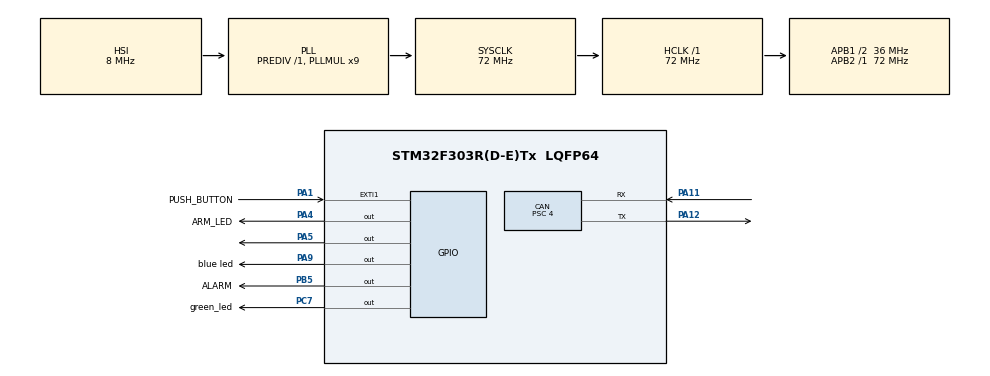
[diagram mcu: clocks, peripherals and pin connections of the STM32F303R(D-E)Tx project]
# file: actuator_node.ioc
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CAN.ABOM=ENABLE
CAN.AWUM=ENABLE
CAN.BS1=CAN_BS1_15TQ
CAN.BS2=CAN_BS2_2TQ
CAN.CalculateBaudRate=500000
CAN.CalculateTimeBit=2000
CAN.CalculateTimeQuantum=111.11111111111111
CAN.NART=ENABLE
CAN.Prescaler=4
FREERTOS.BinarySemaphores01=armButtonSem,Dynamic,NULL,Available
FREERTOS.Mutexes01=sensorDataMutex,Dynamic,NULL,Available
FREERTOS.Tasks01=defaultTask,24,128,StartDefaultTask,Default,NULL,Dynamic,NULL,NULL;canRxTask,32,256,StartCanRxTask,Default,NULL,Dynamic,NULL,NULL;alarmTask,24,256,StartAlarmTask,Default,NULL,Dynamic,NULL,NULL;climateTask,16,256,StartClimateTask,Default,NULL,Dynamic,NULL,NULL;statusTxTask,24,128,StartstatusTxTask,Default,NULL,Dynamic,NULL,NULL
FREERTOS.configTOTAL_HEAP_SIZE=8192
FREERTOS.configUSE_NEWLIB_REENTRANT=0
Mcu.Family=STM32F3
Mcu.Name=STM32F303R(D-E)Tx
Mcu.Package=LQFP64
NVIC.EXTI1_IRQn=true\:5\:0\:false\:false\:true\:true\:true\:true\:true
NVIC.PriorityGroup=NVIC_PRIORITYGROUP_4
NVIC.TIM6_DAC_IRQn=true\:15\:0\:false\:false\:true\:false\:false\:true\:true
NVIC.TimeBase=TIM6_DAC_IRQn
NVIC.TimeBaseIP=TIM6
NVIC.USB_LP_CAN_RX0_IRQn=true\:5\:0\:false\:false\:true\:true\:true\:true\:true
PA1.GPIO_Label=PUSH_BUTTON
PA1.GPIO_ModeDefaultEXTI=GPIO_MODE_IT_FALLING
PA1.GPIO_PuPd=GPIO_PULLUP
PA1.Signal=GPXTI1
PA11.Mode=CAN_Activate
PA11.Signal=CAN_RX
PA12.Mode=CAN_Activate
PA12.Signal=CAN_TX
PA4.GPIO_Label=ARM_LED
PA4.Signal=GPIO_Output
PA5.Signal=GPIO_Output
PA9.GPIO_Label=blue led
PA9.Signal=GPIO_Output
PB5.GPIO_Label=ALARM
PB5.GPIO_ModeDefaultOutputPP=GPIO_MODE_OUTPUT_PP
PB5.Signal=GPIO_Output
PC7.GPIO_Label=green_led
PC7.Signal=GPIO_Output
ProjectManager.HeapSize=0x200
ProjectManager.StackSize=0x400
ProjectManager.TargetToolchain=STM32CubeIDE
RCC.AHBFreq_Value=72000000
RCC.APB1CLKDivider=RCC_HCLK_DIV2
RCC.APB1Freq_Value=36000000
RCC.APB1TimFreq_Value=72000000
RCC.APB2Freq_Value=72000000
RCC.APB2TimFreq_Value=72000000
RCC.CortexFreq_Value=72000000
RCC.HCLKFreq_Value=72000000
RCC.HSE_VALUE=8000000
RCC.HSI_VALUE=8000000
RCC.LSE_VALUE=32768
RCC.PLLM=8
RCC.PLLMUL=RCC_PLL_MUL9
RCC.PLLN=336
RCC.PLLP=RCC_PLLP_DIV4
RCC.PLLQ=7
RCC.RCC_PLLsource_Clock_Source_FROM_HSE=RCC_HSE_PREDIV_DIV2
RCC.SYSCLKFreq_VALUE=72000000
RCC.SYSCLKSourceVirtual=RCC_SYSCLKSOURCE_PLLCLK
RCC.USBFreq_Value=72000000
VP_FREERTOS_VS_CMSIS_V2.Mode=CMSIS_V2
VP_SYS_VS_tim6.Mode=TIM6
board=NUCLEO-F303RE

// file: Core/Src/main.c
/* USER CODE BEGIN Header */
/**
  ******************************************************************************
  * @file           : main.c
  * @brief          : Actuator Node (Board 2) - Environmental Monitor Receiver
  *
  * This is the entry point for the Actuator Node in a two-board environmental
  * monitoring system. This node:
  *   - Receives CAN messages from the Sender Node (BME280 + PIR + Door data)
  *   - Runs FreeRTOS with 4 tasks to handle button input, CAN reception,
  *     alarm control, and climate-based LED actuation
  *   - Uses TIM6 as the HAL timebase (instead of SysTick) because FreeRTOS
  *     takes ownership of SysTick for its own tick interrupt
  *
  * Startup sequence:
  *   HAL_Init() -> SystemClock_Config() -> GPIO/CAN peripheral init ->
  *   CAN filter + start -> osKernelInitialize() -> MX_FREERTOS_Init()
  *   (creates tasks/mutex/semaphore) -> osKernelStart() (never returns)
  ******************************************************************************
  */
/* USER CODE END Header */
#include "main.h"
#include "cmsis_os.h"
#include "can.h"
#include "gpio.h"

/* USER CODE BEGIN Includes */
#include "buzzer.h"
/* USER CODE END Includes */

/* USER CODE BEGIN PV */
/*
 * last_button_press: Stores the tick count (ms) of the most recent valid
 * button press. Used for software debouncing — we reject any interrupt that
 * fires within 200ms of the previous one.
 * Declared volatile because it is written inside an ISR (HAL_GPIO_EXTI_Callback)
 * and could be read from task context.
 */
volatile uint32_t last_button_press = 0;

/*
 * armButtonSemHandle: A binary semaphore created in freertos.c.
 * We extern it here so the EXTI callback (ISR) can release it to wake
 * the defaultTask, which handles arming/disarming logic in task context.
 */
extern osSemaphoreId_t armButtonSemHandle;
/* USER CODE END PV */

void SystemClock_Config(void);
void MX_FREERTOS_Init(void);

int main(void)
{

  /* MCU Configuration--------------------------------------------------------*/

  /* Reset of all peripherals, Initializes the Flash interface and the Systick. */
  HAL_Init();

  /* Configure the system clock */
  SystemClock_Config();

  /* Initialize all configured peripherals */
  MX_GPIO_Init();
  MX_CAN_Init();
  /* USER CODE BEGIN 2 */

  /*
   * --- CAN RECEIVE FILTER CONFIGURATION ---
   * The STM32 CAN peripheral has hardware filter banks that decide which
   * incoming message IDs get placed into the receive FIFO and which get
   * silently discarded. This is useful on a busy CAN bus with many nodes.
   *
   */
  CAN_FilterTypeDef canfilterconfig;

  canfilterconfig.FilterActivation = CAN_FILTER_ENABLE;
  canfilterconfig.FilterBank = 10;                       /* Which of the 14 filter banks to use (0-13) */
  canfilterconfig.FilterFIFOAssignment = CAN_RX_FIFO0;  /* Accepted messages go to FIFO0 */
  canfilterconfig.FilterIdHigh = 0;                      /* Upper 16 bits of the ID to match (0 = don't care) */
  canfilterconfig.FilterIdLow = 0;                       /* Lower 16 bits of the ID to match */
  canfilterconfig.FilterMaskIdHigh = 0;                  /* Upper 16 bits of the mask (0 = ignore all bits) */
  canfilterconfig.FilterMaskIdLow = 0;                   /* Lower 16 bits of the mask */
  canfilterconfig.FilterMode = CAN_FILTERMODE_IDMASK;    /* Mask mode: (RxID & Mask) == (FilterID & Mask) */
  canfilterconfig.FilterScale = CAN_FILTERSCALE_32BIT;   /* Use full 32-bit filter width */
  canfilterconfig.SlaveStartFilterBank = 14;             /* Not relevant for single-CAN devices */

  HAL_CAN_ConfigFilter(&hcan, &canfilterconfig);

  /* Start the CAN peripheral — transitions from Initialization to Normal mode. */
  HAL_CAN_Start(&hcan);

  /* Force the buzzer/alarm GPIO low so we start in a known silent state */
  Buzzer_Off();
  /* USER CODE END 2 */

  /* Init scheduler */
  osKernelInitialize();

  /* Call init function for freertos objects (in cmsis_os2.c) */
  MX_FREERTOS_Init();

  /* Start scheduler */
  osKernelStart();

  /* We should never get here as control is now taken by the scheduler */

  /* Infinite loop */
    while (1)
    {
    }

}

void SystemClock_Config(void)
{
  RCC_OscInitTypeDef RCC_OscInitStruct = {0};
  RCC_ClkInitTypeDef RCC_ClkInitStruct = {0};

  /** Initializes the RCC Oscillators according to the specified parameters
  * in the RCC_OscInitTypeDef structure.
  */
  RCC_OscInitStruct.OscillatorType = RCC_OSCILLATORTYPE_HSI;
  RCC_OscInitStruct.HSIState = RCC_HSI_ON;
  RCC_OscInitStruct.HSICalibrationValue = RCC_HSICALIBRATION_DEFAULT;
  RCC_OscInitStruct.PLL.PLLState = RCC_PLL_ON;
  RCC_OscInitStruct.PLL.PLLSource = RCC_PLLSOURCE_HSI;
  RCC_OscInitStruct.PLL.PLLMUL = RCC_PLL_MUL9;
  RCC_OscInitStruct.PLL.PREDIV = RCC_PREDIV_DIV1;
  if (HAL_RCC_OscConfig(&RCC_OscInitStruct) != HAL_OK)
  {
    Error_Handler();
  }

  /** Initializes the CPU, AHB and APB buses clocks
  */
  RCC_ClkInitStruct.ClockType = RCC_CLOCKTYPE_HCLK|RCC_CLOCKTYPE_SYSCLK
                              |RCC_CLOCKTYPE_PCLK1|RCC_CLOCKTYPE_PCLK2;
  RCC_ClkInitStruct.SYSCLKSource = RCC_SYSCLKSOURCE_PLLCLK;
  RCC_ClkInitStruct.AHBCLKDivider = RCC_SYSCLK_DIV1;
  RCC_ClkInitStruct.APB1CLKDivider = RCC_HCLK_DIV2;
  RCC_ClkInitStruct.APB2CLKDivider = RCC_HCLK_DIV1;

  if (HAL_RCC_ClockConfig(&RCC_ClkInitStruct, FLASH_LATENCY_2) != HAL_OK)
  {
    Error_Handler();
  }
}

/* USER CODE BEGIN 4 */
/*
 * HAL_GPIO_EXTI_Callback — Called by the HAL when any EXTI line fires.
 *
 * This is an Interrupt Service Routine (ISR) context.
 * Pattern used: "Deferred Interrupt Handling"
 *   ISR releases a binary semaphore -> FreeRTOS task wakes up and does
 *   the real work (toggling armed state, controlling LEDs/buzzer).
 *   This keeps the ISR fast and lets the scheduler manage priorities.
 */
void HAL_GPIO_EXTI_Callback(uint16_t GPIO_Pin)
{
    if (GPIO_Pin == PUSH_BUTTON_Pin)
    {
        uint32_t current_time = HAL_GetTick();

        /*
         * Software debounce: ignore repeats within 200 ms of the last *accepted* press.
         * Do not compare against last_button_press == 0: (now - 0) > 200 would reject
         * every press until system time exceeds 200 ms, which feels like a dead button.
         */
        if (last_button_press != 0U && (current_time - last_button_press) <= 200U)
        {
            return;
        }

        (void)osSemaphoreRelease(armButtonSemHandle);
        last_button_press = current_time;
    }
}
/* USER CODE END 4 */

void HAL_TIM_PeriodElapsedCallback(TIM_HandleTypeDef *htim)
{
  if (htim->Instance == TIM6) {
    HAL_IncTick();
  }
}

void Error_Handler(void)
{
  __disable_irq();
  while (1)
  {
  }
}

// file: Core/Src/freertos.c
/* USER CODE BEGIN Header */
/**
  ******************************************************************************
  * File Name          : freertos.c
  * Description        : FreeRTOS task definitions for the Actuator Node
  *
  * This file contains:
  *   - RTOS object definitions (tasks, mutex, semaphore)
  *   - MX_FREERTOS_Init() which creates all RTOS objects
  *   - Four task functions:
  *       1. StartDefaultTask  — Arm/disarm toggle via button semaphore
  *       2. StartCanRxTask    — Polls CAN FIFO and updates shared sensor data
  *       3. StartAlarmTask    — Drives buzzer when armed + intrusion detected
  *       4. StartClimateTask  — Blinks heater/fan LEDs based on temperature
  *
  * Shared data between tasks is protected by sensorDataMutex.
  * The ISR-to-task handoff for the arm button uses armButtonSem.
  ******************************************************************************
  */
/* USER CODE END Header */

#include "FreeRTOS.h"
#include "task.h"
#include "main.h"
#include "cmsis_os.h"

/* USER CODE BEGIN Includes */
#include <string.h>
#include "can.h"
#include "gpio.h"
#include "buzzer.h"
/* USER CODE END Includes */

/* USER CODE BEGIN PD */
//#define PREFERRED_TEMP_C        22.0f   /* Target room temperature in Celsius for climate control */
#define NO_MOTION_TIMEOUT_MS    30000U  /* 30 seconds: if no PIR motion within this window, disable HVAC LEDs */
#define ACTUATOR_BLINK_MS       500U    /* LED toggle period for heater/fan visual indicator */
/* USER CODE END PD */

/* USER CODE BEGIN Variables */

/* CAN handle defined in can.c — needed here to call HAL_CAN_GetRxMessage */
extern CAN_HandleTypeDef hcan;

/* CAN receive buffer — filled by HAL_CAN_GetRxMessage in the canRxTask */
CAN_RxHeaderTypeDef   RxHeader;
uint8_t               RxData[8];

/*
 * system_armed: Global flag toggled by defaultTask on button press.
 *   0 = disarmed (alarm cannot sound)
 *   1 = armed (alarm will sound on door/PIR trigger)
 * Declared volatile because it is written by one task (defaultTask) and
 * read by another (alarmTask). On ARM Cortex-M, single-byte reads/writes
 * are atomic, so no mutex is strictly needed for this flag.
 */
volatile uint8_t  system_armed = 0;

/*
 * Shared sensor data — updated by canRxTask, read by alarmTask and climateTask.
 * All accesses MUST be wrapped with osMutexAcquire/Release(sensorDataMutexHandle)
 * to prevent torn reads (especially the 4-byte floats, which are NOT atomic).
 */
volatile float    remote_temp       = 0.0f;  /* Temperature from BME280 (Celsius) */
volatile float    remote_press      = 0.0f;  /* Barometric pressure (hPa) */
volatile float    remote_hum        = 0.0f;  /* Relative humidity (%) */
volatile uint8_t  remote_door_open  = 0;     /* 1 = door open, 0 = closed */
volatile uint8_t  remote_pir_motion = 0;     /* 1 = motion detected */
volatile uint32_t last_motion_tick  = 0;     /* HAL_GetTick() timestamp of last motion event */

/* Debug counters: track how many messages of each CAN ID have been received */
volatile uint32_t rx_count_103 = 0;
volatile uint32_t rx_count_104 = 0;

volatile float target_temp = 22.0f;
/* USER CODE END Variables */
/* Definitions for defaultTask */
osThreadId_t defaultTaskHandle;
const osThreadAttr_t defaultTask_attributes = {
  .name = "defaultTask",
  .stack_size = 128 * 4,
  .priority = (osPriority_t) osPriorityNormal,
};
/* Definitions for canRxTask */
osThreadId_t canRxTaskHandle;
const osThreadAttr_t canRxTask_attributes = {
  .name = "canRxTask",
  .stack_size = 256 * 4,
  .priority = (osPriority_t) osPriorityAboveNormal,
};
/* Definitions for alarmTask */
osThreadId_t alarmTaskHandle;
const osThreadAttr_t alarmTask_attributes = {
  .name = "alarmTask",
  .stack_size = 256 * 4,
  .priority = (osPriority_t) osPriorityNormal,
};
/* Definitions for climateTask */
osThreadId_t climateTaskHandle;
const osThreadAttr_t climateTask_attributes = {
  .name = "climateTask",
  .stack_size = 256 * 4,
  .priority = (osPriority_t) osPriorityBelowNormal,
};
/* Definitions for statusTxTask */
osThreadId_t statusTxTaskHandle;
const osThreadAttr_t statusTxTask_attributes = {
  .name = "statusTxTask",
  .stack_size = 128 * 4,
  .priority = (osPriority_t) osPriorityNormal,
};
/* Definitions for sensorDataMutex */
osMutexId_t sensorDataMutexHandle;
const osMutexAttr_t sensorDataMutex_attributes = {
  .name = "sensorDataMutex"
};
/* Definitions for armButtonSem */
osSemaphoreId_t armButtonSemHandle;
const osSemaphoreAttr_t armButtonSem_attributes = {
  .name = "armButtonSem"
};

void StartDefaultTask(void *argument);
void StartCanRxTask(void *argument);
void StartAlarmTask(void *argument);
void StartClimateTask(void *argument);
void StartStatusTxTask(void *argument);

void MX_FREERTOS_Init(void); /* (MISRA C 2004 rule 8.1) */

void MX_FREERTOS_Init(void) {
  /* Create the mutex(es) */
  /* creation of sensorDataMutex */
  sensorDataMutexHandle = osMutexNew(&sensorDataMutex_attributes);

  /* Create the semaphores(s) */
  /* creation of armButtonSem — initial count 0: wait for button ISR, not a spurious wake at boot */
  armButtonSemHandle = osSemaphoreNew(1, 0, &armButtonSem_attributes);

  /* Create the thread(s) */
  /* creation of defaultTask */
  defaultTaskHandle = osThreadNew(StartDefaultTask, NULL, &defaultTask_attributes);

  /* creation of canRxTask */
  canRxTaskHandle = osThreadNew(StartCanRxTask, NULL, &canRxTask_attributes);

  /* creation of alarmTask */
  alarmTaskHandle = osThreadNew(StartAlarmTask, NULL, &alarmTask_attributes);

  /* creation of climateTask */
  climateTaskHandle = osThreadNew(StartClimateTask, NULL, &climateTask_attributes);

  /* creation of statusTxTask */
  statusTxTaskHandle = osThreadNew(StartStatusTxTask, NULL, &statusTxTask_attributes);

}

/* USER CODE BEGIN Header_StartDefaultTask */
/**
  * @brief  defaultTask — Arm/Disarm button handler (deferred from ISR).
  *
  * This task spends most of its life blocked on the armButtonSem semaphore.
  * When the user presses the physical push button:
  *   1. EXTI ISR fires -> HAL_GPIO_EXTI_Callback in main.c
  *   2. Callback releases armButtonSem (after debounce check)
  *   3. This task wakes up, toggles system_armed, and updates the ARM LED
  *   4. If disarming, immediately silences the buzzer
  *
  * Blocking on a semaphore (instead of polling) means this task consumes
  * zero CPU while waiting — the scheduler runs other tasks instead.
  */
/* USER CODE END Header_StartDefaultTask */
void StartDefaultTask(void *argument)
{
  /* USER CODE BEGIN StartDefaultTask */
  for(;;)
  {
    /* Block indefinitely until the button ISR releases the semaphore */
    if (osSemaphoreAcquire(armButtonSemHandle, osWaitForever) == osOK)
    {
        system_armed = !system_armed;

        if(system_armed) {
            HAL_GPIO_WritePin(ARM_LED_GPIO_Port, ARM_LED_Pin, GPIO_PIN_SET);
        } else {
            HAL_GPIO_WritePin(ARM_LED_GPIO_Port, ARM_LED_Pin, GPIO_PIN_RESET);
            Buzzer_Off();
        }
    }
  }
  /* USER CODE END StartDefaultTask */
}

/* USER CODE BEGIN Header_StartCanRxTask */
/**
  * @brief  canRxTask — CAN bus receive handler (highest priority task).
  *
  * Polls the CAN RX FIFO0 every 10ms for pending messages from the
  * Sender Node. Two message types are expected:
  *
  *   ID 0x103 (DLC=6): [Door(1B)] [PIR(1B)] [Temperature(4B float)]
  *     - Door byte: 'D' = open, 'C' = closed
  *     - PIR byte:  non-zero = motion detected
  *     - Temperature: IEEE 754 float copied byte-by-byte via memcpy
  *
  *   ID 0x104 (DLC=8): [Pressure(4B float)] [Humidity(4B float)]
  *
  * All shared sensor variables are updated under mutex protection to
  * prevent alarmTask or climateTask from reading partially-written data.
  * The PA5 "traffic LED" toggles on every received frame for visual
  * confirmation that CAN communication is alive.
  */
/* USER CODE END Header_StartCanRxTask */
void StartCanRxTask(void *argument)
{
  /* USER CODE BEGIN StartCanRxTask */
  for(;;)
  {
    /* Drain all pending messages from the hardware FIFO before sleeping */
    while (HAL_CAN_GetRxFifoFillLevel(&hcan, CAN_RX_FIFO0) > 0)
    {
      HAL_CAN_GetRxMessage(&hcan, CAN_RX_FIFO0, &RxHeader, RxData);
      HAL_GPIO_TogglePin(GPIOA, GPIO_PIN_5);

      osMutexAcquire(sensorDataMutexHandle, osWaitForever);

      if (RxHeader.StdId == 0x103)
      {
          rx_count_103++;
          remote_door_open  = (RxData[0] == 'D') ? 1 : 0;
          remote_pir_motion = (RxData[1] != 0)   ? 1 : 0;

          if (remote_pir_motion) {
              last_motion_tick = HAL_GetTick();
          }
          /*
           * memcpy is used instead of a direct float cast because the bytes
           * in RxData may not be aligned to a 4-byte boundary. Casting a
           * misaligned pointer to float* can cause a HardFault on Cortex-M.
           */
          memcpy((void *)&remote_temp, &RxData[2], 4);
      }
      else if (RxHeader.StdId == 0x104)
      {
          rx_count_104++;
          memcpy((void *)&remote_press, &RxData[0], 4);
          memcpy((void *)&remote_hum,   &RxData[4], 4);
      }
      else if (RxHeader.StdId == 0x200)
      {
          if (RxData[0] == 0x01) {
              system_armed = 1;
              HAL_GPIO_WritePin(ARM_LED_GPIO_Port, ARM_LED_Pin, GPIO_PIN_SET);
          } else if (RxData[0] == 0x02) {
              system_armed = 0;
              HAL_GPIO_WritePin(ARM_LED_GPIO_Port, ARM_LED_Pin, GPIO_PIN_RESET);
              Buzzer_Off();
          }
      }
      else if (RxHeader.StdId == 0x201)
      {
          memcpy((void *)&target_temp, &RxData[0], 4);
      }

      osMutexRelease(sensorDataMutexHandle);
    }
    /* Yield to lower-priority tasks; 10ms polling interval is fast enough
     * given the sender transmits every 500ms */
    osDelay(10);
  }
  /* USER CODE END StartCanRxTask */
}

/* USER CODE BEGIN Header_StartAlarmTask */
/**
  * @brief  alarmTask — Security alarm logic.
  *
  * Checks every 50ms whether the system is armed AND an intrusion is
  * detected (door open OR PIR motion). If both conditions are true,
  * the buzzer sounds. When conditions clear (or system is disarmed),
  * the buzzer is turned off.
  *
  * The local_* copies are taken under mutex to get a consistent snapshot,
  * then all decision logic runs outside the mutex to keep the critical
  * section as short as possible.
  *
  * Note: system_armed is read WITHOUT the mutex — it is a single byte
  * (atomic on ARM) and is only written by one task (defaultTask).
  * The buzzer is also controlled by defaultTask (immediate off on disarm),
  * so there is a benign race: worst case, the buzzer stays on for one
  * extra 50ms cycle before this task turns it off.
  */
/* USER CODE END Header_StartAlarmTask */
void StartAlarmTask(void *argument)
{
  /* USER CODE BEGIN StartAlarmTask */
  uint8_t local_door_open;
  uint8_t local_pir_motion;

  for(;;)
  {
    osMutexAcquire(sensorDataMutexHandle, osWaitForever);
    local_door_open  = remote_door_open;
    local_pir_motion = remote_pir_motion;
    osMutexRelease(sensorDataMutexHandle);

    if (system_armed && (local_door_open || local_pir_motion)) {
        Buzzer_On();
    } else {
        Buzzer_Off();
    }

    osDelay(50);
  }
  /* USER CODE END StartAlarmTask */
}

/* USER CODE BEGIN Header_StartClimateTask */
/**
  * @brief  climateTask — HVAC simulation via LEDs (lowest priority).
  *
  * Simulates a smart thermostat with occupancy awareness:
  *   - If no motion has been detected for 30 seconds, both HVAC LEDs
  *     are turned off (energy saving — nobody is in the room).
  *   - If motion is recent AND temp < 22C: blue LED blinks (heater ON)
  *   - If motion is recent AND temp > 22C: green LED blinks (fan/AC ON)
  *   - If temp == 22C exactly: both LEDs off (comfortable)
  *
  * The 500ms blink is software-timed using HAL_GetTick() rather than
  * osDelay(), because we want the 50ms polling loop to keep checking
  * for state changes (e.g., motion timeout) at a faster rate than
  * the visual blink rate.
  */
/* USER CODE END Header_StartClimateTask */
void StartClimateTask(void *argument)
{
  /* USER CODE BEGIN StartClimateTask */
  uint32_t last_heater_fan_blink = 0;
  float local_temp;
  float local_target_temp;
  uint32_t local_motion_tick;

  for(;;)
  {
    osMutexAcquire(sensorDataMutexHandle, osWaitForever);
    local_temp        = remote_temp;
    local_target_temp = target_temp;
    local_motion_tick = last_motion_tick;
    osMutexRelease(sensorDataMutexHandle);

    uint32_t now = HAL_GetTick();

    /*
     * Occupancy check: if last_motion_tick is still 0 (no motion ever received)
     * or more than 30 seconds have elapsed since the last PIR trigger,
     * consider the room unoccupied and shut off climate LEDs.
     */
    uint8_t motion_active = (local_motion_tick != 0 && (now - local_motion_tick <= NO_MOTION_TIMEOUT_MS)) ? 1 : 0;

    if (!motion_active) {
        HAL_GPIO_WritePin(blue_led_GPIO_Port,  blue_led_Pin,  GPIO_PIN_RESET);
        HAL_GPIO_WritePin(green_led_GPIO_Port, green_led_Pin, GPIO_PIN_RESET);
    } else {
        if (local_temp < local_target_temp) {
            /* Too cold -> blink blue (heater indicator) */
            if (now - last_heater_fan_blink >= ACTUATOR_BLINK_MS) {
                HAL_GPIO_TogglePin(blue_led_GPIO_Port, blue_led_Pin);
                last_heater_fan_blink = now;
            }
            HAL_GPIO_WritePin(green_led_GPIO_Port, green_led_Pin, GPIO_PIN_RESET);
        } else if (local_temp > local_target_temp) {
            /* Too hot -> blink green (fan/AC indicator) */
            if (now - last_heater_fan_blink >= ACTUATOR_BLINK_MS) {
                HAL_GPIO_TogglePin(green_led_GPIO_Port, green_led_Pin);
                last_heater_fan_blink = now;
            }
            HAL_GPIO_WritePin(blue_led_GPIO_Port, blue_led_Pin, GPIO_PIN_RESET);
        } else {
            /* At target temperature — both off */
            HAL_GPIO_WritePin(blue_led_GPIO_Port,  blue_led_Pin,  GPIO_PIN_RESET);
            HAL_GPIO_WritePin(green_led_GPIO_Port, green_led_Pin, GPIO_PIN_RESET);
        }
    }

    osDelay(50);
  }
  /* USER CODE END StartClimateTask */
}

void StartStatusTxTask(void *argument)
{
  /* USER CODE BEGIN StartStatusTxTask */
  CAN_TxHeaderTypeDef TxHeader;
  uint8_t TxData[6];
  uint32_t TxMailbox;

  TxHeader.StdId = 0x105;
  TxHeader.IDE = CAN_ID_STD;
  TxHeader.RTR = CAN_RTR_DATA;
  TxHeader.DLC = 6;
  TxHeader.TransmitGlobalTime = DISABLE;

  for(;;)
  {
      // Byte 0: Armed Status
      TxData[0] = system_armed;

      // Byte 1: Alarm Status (Sounding or not)
      TxData[1] = (system_armed && (remote_door_open || remote_pir_motion)) ? 1 : 0;

      // Bytes 2-5: Current Target Temperature
      osMutexAcquire(sensorDataMutexHandle, osWaitForever);
      memcpy(&TxData[2], (void *)&target_temp, 4);
      osMutexRelease(sensorDataMutexHandle);

      // Transmit the message
      if (HAL_CAN_GetTxMailboxesFreeLevel(&hcan) > 0) {
          HAL_CAN_AddTxMessage(&hcan, &TxHeader, TxData, &TxMailbox);
      }

      // Wait 1 second before broadcasting again
      osDelay(1000);
  }
  /* USER CODE END StartStatusTxTask */
}
